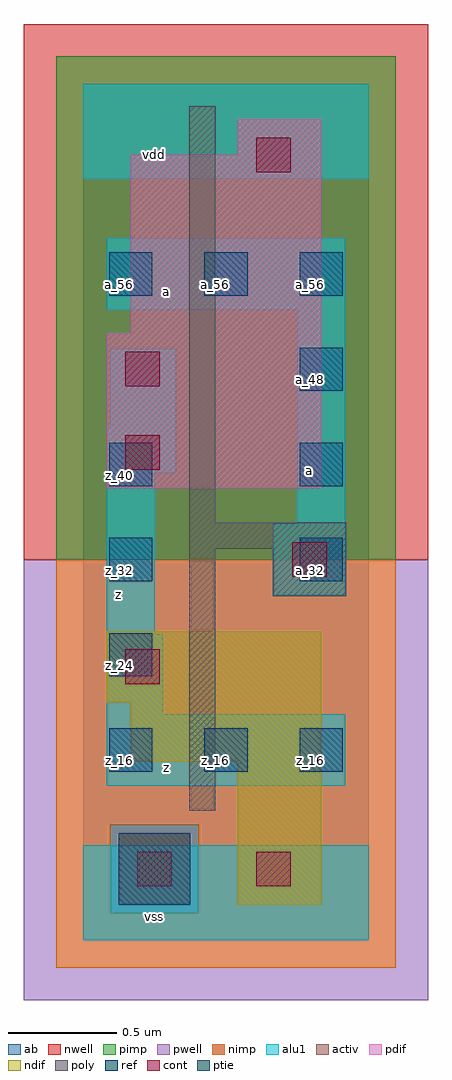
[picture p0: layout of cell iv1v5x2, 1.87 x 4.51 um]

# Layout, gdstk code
import gdstk
lib = gdstk.Library(unit=1e-6, precision=2.5e-09)
def R(c, l, rs):  # rectangles x0, y0, x1, y1
    for r in rs: c.add(gdstk.rectangle(r[:2], r[2:], *l))
def A(c, l, x, y, w, h, nx, ny, dx, dy):  # array of equal rectangles
    R(c, l, [(x+i*dx, y+j*dy, x+i*dx+w, y+j*dy+h) for i in range(nx) for j in range(ny)])
ndif = (3, 0)
pdif = (4, 0)
ptie = (6, 0)
ref = (24, 0)
cont = (25, 0)
pwell = (41, 0)
nwell = (42, 0)
activ = (43, 0)
pimp = (44, 0)
nimp = (45, 0)
poly = (46, 0)
alu1 = (49, 0)
ab = (63, 0)

iv1v5x2 = lib.new_cell('iv1v5x2')
R(iv1v5x2, ndif, [(0.715,0.165,1.1,0.825), (0.22,0.825,1.1,1.1), (0.11,1.1,1.1,1.43)])
R(iv1v5x2, pdif, [(0.11,2.09,1.1,2.805), (0.22,2.805,1.1,3.63), (0.715,3.63,1.1,3.795)])
R(iv1v5x2, ptie, [(0.165,0.165,0.495,0.495)])
A(iv1v5x2, ref, 0.12, 0.78, 0.2, 0.2, 3, 2, 0.44, 2.2)
A(iv1v5x2, ref, 0.12, 1.22, 0.2, 0.2, 1, 3, 0, 0.44)
A(iv1v5x2, ref, 1, 1.66, 0.2, 0.2, 1, 3, 0, 0.44)
R(iv1v5x2, cont, [(0.25,0.25,0.41,0.41), (0.8,0.25,0.96,0.41), (0.195,1.185,0.355,1.345), (0.965,1.68,1.125,1.84), (0.195,2.175,0.355,2.335), (0.195,2.56,0.355,2.72), (0.8,3.55,0.96,3.71)])
R(iv1v5x2, pwell, [(-0.275,-0.275,1.595,1.76)])
R(iv1v5x2, nwell, [(-0.275,1.76,1.595,4.235)])
R(iv1v5x2, activ, [(0.165,0.165,0.495,0.495), (0.715,0.165,1.1,0.825), (0.22,0.825,1.1,1.1), (0.11,1.1,1.1,1.43), (0.11,2.09,1.1,2.805), (0.22,2.805,1.1,3.63), (0.715,3.63,1.1,3.795)])
R(iv1v5x2, pimp, [(0.125,0.125,0.535,0.535), (-0.125,1.76,1.445,4.085)])
R(iv1v5x2, nimp, [(-0.125,-0.125,1.445,0.125), (-0.125,0.125,0.125,0.535), (0.535,0.125,1.445,0.535), (-0.125,0.535,1.445,1.76)])
R(iv1v5x2, poly, [(0.49,0.6,0.61,1.81), (0.875,1.59,1.215,1.81), (0.49,1.81,1.215,1.93), (0.49,1.93,0.61,3.855)])
R(iv1v5x2, alu1, [(0,0,1.32,0.44), (0.11,0.715,1.21,1.045), (0.11,1.045,0.37,1.415), (0.11,1.415,0.33,2.16), (0.88,1.595,1.21,1.925), (0.99,1.925,1.21,2.915), (0.11,2.16,0.425,2.365), (0.125,2.365,0.425,2.735), (0.11,2.915,1.21,3.245), (0,3.52,1.32,3.96)])
R(iv1v5x2, ab, [(0,0,1.32,3.96)])
iv1v5x2.add(gdstk.Label('vss', (0.33,0.11), layer=49, texttype=0))
iv1v5x2.add(gdstk.Label('z', (0.385,0.7975), layer=49, texttype=0))
iv1v5x2.add(gdstk.Label('a', (1.045,2.1725), layer=49, texttype=0))
iv1v5x2.add(gdstk.Label('z', (0.165,1.6), layer=49, texttype=0))
iv1v5x2.add(gdstk.Label('a', (0.385,2.9975), layer=49, texttype=0))
iv1v5x2.add(gdstk.Label('vdd', (0.33,3.63), layer=49, texttype=0))
iv1v5x2.add(gdstk.Label('z_16', (0.61,0.83), layer=24, texttype=0))
iv1v5x2.add(gdstk.Label('a_56', (0.61,3.03), layer=24, texttype=0))
iv1v5x2.add(gdstk.Label('z_16', (1.05,0.83), layer=24, texttype=0))
iv1v5x2.add(gdstk.Label('a_32', (1.05,1.71), layer=24, texttype=0))
iv1v5x2.add(gdstk.Label('a_40', (1.05,2.15), layer=24, texttype=0))
iv1v5x2.add(gdstk.Label('a_48', (1.05,2.59), layer=24, texttype=0))
iv1v5x2.add(gdstk.Label('a_56', (1.05,3.03), layer=24, texttype=0))
iv1v5x2.add(gdstk.Label('z_16', (0.17,0.83), layer=24, texttype=0))
iv1v5x2.add(gdstk.Label('z_24', (0.17,1.27), layer=24, texttype=0))
iv1v5x2.add(gdstk.Label('z_32', (0.17,1.71), layer=24, texttype=0))
iv1v5x2.add(gdstk.Label('z_40', (0.17,2.15), layer=24, texttype=0))
iv1v5x2.add(gdstk.Label('a_56', (0.17,3.03), layer=24, texttype=0))

lib.write_gds('iv1v5x2.gds')
